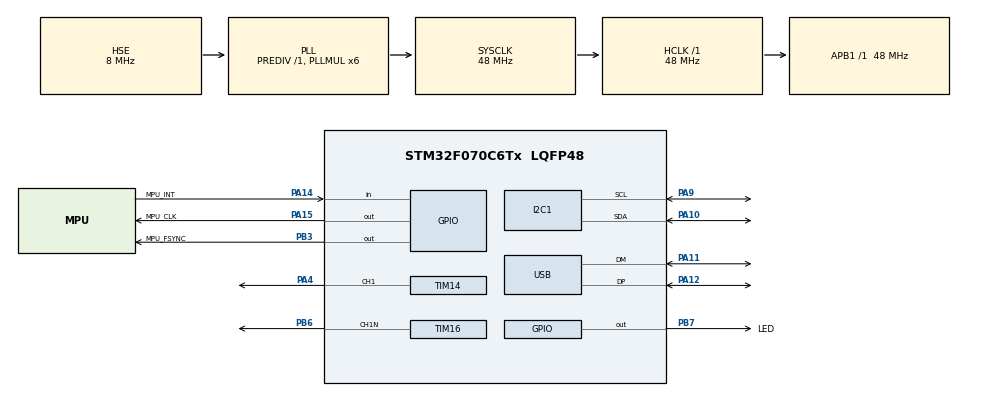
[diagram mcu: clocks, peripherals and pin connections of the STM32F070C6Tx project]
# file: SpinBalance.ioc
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Mcu.Family=STM32F0
Mcu.Name=STM32F070C6Tx
Mcu.Package=LQFP48
NVIC.USB_IRQn=true\:0\:0\:false\:false\:true\:false\:true
PA10.Mode=I2C
PA10.Signal=I2C1_SDA
PA11.Mode=Device
PA11.Signal=USB_DM
PA12.Mode=Device
PA12.Signal=USB_DP
PA14.GPIO_Label=MPU_INT
PA14.Signal=GPIO_Input
PA15.GPIO_Label=MPU_CLK
PA15.Signal=GPIO_Output
PA4.Signal=S_TIM14_CH1
PA9.Mode=I2C
PA9.Signal=I2C1_SCL
PB3.GPIO_Label=MPU_FSYNC
PB3.Signal=GPIO_Output
PB6.GPIO_ModeDefaultPP=GPIO_MODE_AF_PP
PB6.GPIO_PuPd=GPIO_NOPULL
PB6.Mode=PWM Generation1 CH1N
PB6.Signal=TIM16_CH1N
PB7.GPIO_Label=LED
PB7.PinState=GPIO_PIN_RESET
PB7.Signal=GPIO_Output
PF0-OSC_IN.Mode=HSE-External-Oscillator
PF0-OSC_IN.Signal=RCC_OSC_IN
PF1-OSC_OUT.Mode=HSE-External-Oscillator
PF1-OSC_OUT.Signal=RCC_OSC_OUT
ProjectManager.HeapSize=0x200
ProjectManager.StackSize=0x300
ProjectManager.TargetToolchain=SW4STM32
RCC.AHBFreq_Value=48000000
RCC.APB1Freq_Value=48000000
RCC.APB1TimFreq_Value=48000000
RCC.HCLKFreq_Value=48000000
RCC.PLLMUL=RCC_PLL_MUL6
RCC.SYSCLKFreq_VALUE=48000000
RCC.SYSCLKSource=RCC_SYSCLKSOURCE_PLLCLK
SH.S_TIM14_CH1.0=TIM14_CH1,PWM Generation1 CH1
TIM14.Channel=TIM_CHANNEL_1
TIM14.Period=100
TIM14.Prescaler=48
TIM16.AutoReloadPreload=TIM_AUTORELOAD_PRELOAD_DISABLE
TIM16.AutomaticOutput=TIM_AUTOMATICOUTPUT_DISABLE
TIM16.Channel=TIM_CHANNEL_1
TIM16.Period=100
TIM16.Prescaler=48
TIM16.Pulse=100
USB_DEVICE.CLASS_NAME_FS=CDC
USB_DEVICE.VirtualMode=Cdc
USB_DEVICE.VirtualModeFS=Cdc_FS
VP_TIM14_VS_ClockSourceINT.Mode=Enable_Timer
VP_TIM16_VS_ClockSourceINT.Mode=Enable_Timer
VP_USB_DEVICE_VS_USB_DEVICE_CDC_FS.Mode=CDC_FS
board=custom

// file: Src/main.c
/* USER CODE BEGIN Header */
/**
  ******************************************************************************
  * @file           : main.c
  * @brief          : Main program body
  ******************************************************************************
  * @attention
  *
  * <h2><center>&copy; Copyright (c) 2019 STMicroelectronics.
  * All rights reserved.</center></h2>
  *
  * This software component is licensed by ST under BSD 3-Clause license,
  * the "License"; You may not use this file except in compliance with the
  * License. You may obtain a copy of the License at:
  *                        opensource.org/licenses/BSD-3-Clause
  *
  ******************************************************************************
  */
/* USER CODE END Header */

#include "main.h"
#include "usb_device.h"

/* USER CODE BEGIN Includes */
#include "usbd_cdc_if.h"
#include "math.h"
/* USER CODE END Includes */

/* USER CODE BEGIN PD */
#define MPU_ADDR 0xD0
#define TARGET_PERIOD 5
#define PI 3.14159265
/* USER CODE END PD */

I2C_HandleTypeDef hi2c1;

TIM_HandleTypeDef htim14;
TIM_HandleTypeDef htim16;

/* USER CODE BEGIN PV */
int16_t old_angle = 0;
int16_t pos_dead_band = 0;
int16_t neg_dead_band = -0;
float i_error = 0;
int dead = 0;
int16_t current_speed = 0;

// Configurable parameters
float ki = 2;
float kp = 15;
float kd = 1;
int do_usb = 0; // Set to 1 to do USB transactions
int include_delay = 0; // Set to 1 to include a wait in the loop to achieve target loop time
/* USER CODE END PV */

void SystemClock_Config(void);
static void MX_GPIO_Init(void);
static void MX_I2C1_Init(void);
static void MX_TIM16_Init(void);
static void MX_TIM14_Init(void);
/* USER CODE BEGIN PFP */
HAL_StatusTypeDef MPU_GetReg(uint8_t, uint8_t*, uint8_t);
HAL_StatusTypeDef MPU_SetReg(uint8_t, uint8_t);
uint8_t MPU_Exists();
void SET_PWM_SPEED(int32_t);
int8_t sign(int16_t x);
int16_t balance(float, float, uint32_t);

/* USER CODE END PFP */

int main(void)
{

  /* MCU Configuration--------------------------------------------------------*/

  /* Reset of all peripherals, Initializes the Flash interface and the Systick. */
  HAL_Init();

  /* Configure the system clock */
  SystemClock_Config();

  /* Initialize all configured peripherals */
  MX_GPIO_Init();
  MX_I2C1_Init();
  MX_USB_DEVICE_Init();
  MX_TIM16_Init();
  MX_TIM14_Init();

  /* Infinite loop */
  /* USER CODE BEGIN WHILE */

  HAL_GPIO_TogglePin(LED_GPIO_Port, LED_Pin);
  HAL_Delay(100);
  HAL_GPIO_TogglePin(LED_GPIO_Port, LED_Pin);
  HAL_Delay(100);
  HAL_GPIO_TogglePin(LED_GPIO_Port, LED_Pin);
  HAL_Delay(100);
  HAL_GPIO_TogglePin(LED_GPIO_Port, LED_Pin);
  HAL_Delay(700);

  while(!MPU_Exists())
  {
	  if(do_usb) CDC_Transmit_FS((uint8_t*)"MPU did not response\n\r", 22);
  }

  if(do_usb) CDC_Transmit_FS((uint8_t*)"MPU is alive\n\r", 14);

  MPU_SetReg(0x6b, 0x00); //Set power mode
  MPU_SetReg(0x1c, 0x10); // Set accelerometers to +/-4g
  MPU_SetReg(0x1b, 0x10); //Set gyros to +/-500deg/sec

  HAL_TIM_PWM_Start(&htim16, TIM_CHANNEL_ALL);
  HAL_TIMEx_PWMN_Start(&htim16, TIM_CHANNEL_1);
  HAL_TIM_PWM_Start(&htim14, TIM_CHANNEL_ALL);
  HAL_TIMEx_PWMN_Start(&htim14, TIM_CHANNEL_1);

  uint16_t delay_time = TARGET_PERIOD;
  uint8_t acc_regs[6];
  float acc_vals[3];
  uint8_t gyro_regs[6];
  float gyro_vals[3];
  char usb_buf[150];
  uint8_t usb_buf_len;
  uint8_t usb_error_flag = 0;
  float angle = 0;
  uint32_t t = HAL_GetTick();

  while (1)
  {
	  // Read Acceleration values
	  MPU_GetReg(0x3b, acc_regs, 6);
	  acc_vals[0] = ((int16_t)(acc_regs[0] << 8) + acc_regs[1])/8192.0; //Convert force to grams
	  acc_vals[1] = ((int16_t)(acc_regs[2] << 8) + acc_regs[3])/8192.0; //Convert force to grams
	  acc_vals[2] = ((int16_t)(acc_regs[4] << 8) + acc_regs[5])/8192.0; //Convert force to grams

	  // Check for accelerator saturation
	  if((acc_vals[0] > 3.9) | (acc_vals[1] > 3.9) | (acc_vals[2] > 3.9) | (acc_vals[0] < -3.9) | (acc_vals[1] < -3.9) | (acc_vals[2] < -3.9))
	  {
		  HAL_GPIO_WritePin(LED_GPIO_Port, LED_Pin, GPIO_PIN_SET);
	  }

	  // Read Gyro values and convert to
	  MPU_GetReg(0x43, gyro_regs, 6);
	  gyro_vals[0] = ((int16_t)(gyro_regs[0] << 8) + gyro_regs[1])/65.5 + 0.1620; //Convert to degs/s
	  gyro_vals[1] = ((int16_t)(gyro_regs[2] << 8) + gyro_regs[3])/65.5; //Convert to degs/s
	  gyro_vals[2] = ((int16_t)(gyro_regs[4] << 8) + gyro_regs[5])/65.5 - 1.1653; //Convert to degs/s

	  // Check for gyro saturation
	  if((gyro_vals[0] > 450) | (gyro_vals[1] > 450) | (gyro_vals[2] > 450) | (gyro_vals[0] < -450) | (gyro_vals[1] < -450) | (gyro_vals[2] < -450))
	  {
		  HAL_GPIO_WritePin(LED_GPIO_Port, LED_Pin, GPIO_PIN_SET);
	  }

	  // Calculate the accelerometer angle
	  float accAngle = (atan2(acc_vals[0],acc_vals[1]) * 180 / PI);

	  // Get time delta
	  uint32_t t_now = HAL_GetTick();
	  uint32_t t_delta = t_now - t;
	  delay_time += (TARGET_PERIOD - t_delta);
	  t = t_now;

	  // Combine accelerometer and gyro angles
	  angle = 0.98*(angle + gyro_vals[2]*t_delta/1000) + 0.02*accAngle;

	  // Send USB
	  if(do_usb)
	  {
		  usb_buf_len = 0;
		  usb_buf_len = sprintf(usb_buf, "Dt: %lu\tAccx: %d\tAccy: %d\tAccz: %d\tAccAngle: %d\n\r", t_delta, (int16_t)(acc_vals[0]*1000),(int16_t)(acc_vals[1]*1000),(int16_t)(acc_vals[2]*1000),(int16_t)(accAngle));
		  HAL_StatusTypeDef usb_result = CDC_Transmit_FS((uint8_t*)usb_buf, usb_buf_len);
		  usb_error_flag = (usb_result == HAL_OK ? 0 : 1);
	  }

	  int16_t speed = balance(angle+1, gyro_vals[2], t_delta);

	  if(include_delay)
	  {
		  if(delay_time > 0) HAL_Delay(delay_time);
	  }

	  /* USER CODE END WHILE */

  }
}

void SystemClock_Config(void)
{
  RCC_OscInitTypeDef RCC_OscInitStruct = {0};
  RCC_ClkInitTypeDef RCC_ClkInitStruct = {0};
  RCC_PeriphCLKInitTypeDef PeriphClkInit = {0};

  /** Initializes the CPU, AHB and APB busses clocks
  */
  RCC_OscInitStruct.OscillatorType = RCC_OSCILLATORTYPE_HSI|RCC_OSCILLATORTYPE_HSE;
  RCC_OscInitStruct.HSEState = RCC_HSE_ON;
  RCC_OscInitStruct.HSIState = RCC_HSI_ON;
  RCC_OscInitStruct.HSICalibrationValue = RCC_HSICALIBRATION_DEFAULT;
  RCC_OscInitStruct.PLL.PLLState = RCC_PLL_ON;
  RCC_OscInitStruct.PLL.PLLSource = RCC_PLLSOURCE_HSE;
  RCC_OscInitStruct.PLL.PLLMUL = RCC_PLL_MUL6;
  RCC_OscInitStruct.PLL.PREDIV = RCC_PREDIV_DIV1;
  if (HAL_RCC_OscConfig(&RCC_OscInitStruct) != HAL_OK)
  {
    Error_Handler();
  }
  /** Initializes the CPU, AHB and APB busses clocks
  */
  RCC_ClkInitStruct.ClockType = RCC_CLOCKTYPE_HCLK|RCC_CLOCKTYPE_SYSCLK
                              |RCC_CLOCKTYPE_PCLK1;
  RCC_ClkInitStruct.SYSCLKSource = RCC_SYSCLKSOURCE_PLLCLK;
  RCC_ClkInitStruct.AHBCLKDivider = RCC_SYSCLK_DIV1;
  RCC_ClkInitStruct.APB1CLKDivider = RCC_HCLK_DIV1;

  if (HAL_RCC_ClockConfig(&RCC_ClkInitStruct, FLASH_LATENCY_1) != HAL_OK)
  {
    Error_Handler();
  }
  PeriphClkInit.PeriphClockSelection = RCC_PERIPHCLK_USB|RCC_PERIPHCLK_I2C1;
  PeriphClkInit.I2c1ClockSelection = RCC_I2C1CLKSOURCE_HSI;
  PeriphClkInit.UsbClockSelection = RCC_USBCLKSOURCE_PLL;

  if (HAL_RCCEx_PeriphCLKConfig(&PeriphClkInit) != HAL_OK)
  {
    Error_Handler();
  }
}

static void MX_I2C1_Init(void)
{

  hi2c1.Instance = I2C1;
  hi2c1.Init.Timing = 0x2000090E;
  hi2c1.Init.Timing = 0x0000020B;
  hi2c1.Init.OwnAddress1 = 0;
  hi2c1.Init.AddressingMode = I2C_ADDRESSINGMODE_7BIT;
  hi2c1.Init.DualAddressMode = I2C_DUALADDRESS_DISABLE;
  hi2c1.Init.OwnAddress2 = 0;
  hi2c1.Init.OwnAddress2Masks = I2C_OA2_NOMASK;
  hi2c1.Init.GeneralCallMode = I2C_GENERALCALL_DISABLE;
  hi2c1.Init.NoStretchMode = I2C_NOSTRETCH_DISABLE;
  if (HAL_I2C_Init(&hi2c1) != HAL_OK)
  {
    Error_Handler();
  }
  /** Configure Analogue filter
  */
  if (HAL_I2CEx_ConfigAnalogFilter(&hi2c1, I2C_ANALOGFILTER_ENABLE) != HAL_OK)
  {
    Error_Handler();
  }
  /** Configure Digital filter
  */
  if (HAL_I2CEx_ConfigDigitalFilter(&hi2c1, 0) != HAL_OK)
  {
    Error_Handler();
  }

}

static void MX_TIM14_Init(void)
{

  TIM_OC_InitTypeDef sConfigOC = {0};

  htim14.Instance = TIM14;
  htim14.Init.Prescaler = 1;
  htim14.Init.CounterMode = TIM_COUNTERMODE_UP;
  htim14.Init.Period = 100;
  htim14.Init.ClockDivision = TIM_CLOCKDIVISION_DIV1;
  htim14.Init.RepetitionCounter = 0;
  htim14.Init.AutoReloadPreload = TIM_AUTORELOAD_PRELOAD_DISABLE;
  if (HAL_TIM_Base_Init(&htim14) != HAL_OK)
  {
    Error_Handler();
  }
  if (HAL_TIM_PWM_Init(&htim14) != HAL_OK)
  {
    Error_Handler();
  }
  sConfigOC.OCMode = TIM_OCMODE_PWM1;
  sConfigOC.Pulse = 0;
  sConfigOC.OCPolarity = TIM_OCPOLARITY_HIGH;
  sConfigOC.OCFastMode = TIM_OCFAST_DISABLE;
  if (HAL_TIM_PWM_ConfigChannel(&htim14, &sConfigOC, TIM_CHANNEL_1) != HAL_OK)
  {
    Error_Handler();
  }
  HAL_TIM_MspPostInit(&htim14);

}

static void MX_TIM16_Init(void)
{

  TIM_OC_InitTypeDef sConfigOC = {0};
  TIM_BreakDeadTimeConfigTypeDef sBreakDeadTimeConfig = {0};

  htim16.Instance = TIM16;
  htim16.Init.Prescaler = 1;
  htim16.Init.CounterMode = TIM_COUNTERMODE_UP;
  htim16.Init.Period = 100;
  htim16.Init.ClockDivision = TIM_CLOCKDIVISION_DIV1;
  htim16.Init.RepetitionCounter = 0;
  htim16.Init.AutoReloadPreload = TIM_AUTORELOAD_PRELOAD_DISABLE;
  if (HAL_TIM_Base_Init(&htim16) != HAL_OK)
  {
    Error_Handler();
  }
  if (HAL_TIM_PWM_Init(&htim16) != HAL_OK)
  {
    Error_Handler();
  }
  sConfigOC.OCMode = TIM_OCMODE_PWM1;
  sConfigOC.Pulse = 0;
  sConfigOC.OCPolarity = TIM_OCPOLARITY_HIGH;
  sConfigOC.OCNPolarity = TIM_OCNPOLARITY_HIGH;
  sConfigOC.OCFastMode = TIM_OCFAST_DISABLE;
  sConfigOC.OCIdleState = TIM_OCIDLESTATE_RESET;
  sConfigOC.OCNIdleState = TIM_OCNIDLESTATE_RESET;
  if (HAL_TIM_PWM_ConfigChannel(&htim16, &sConfigOC, TIM_CHANNEL_1) != HAL_OK)
  {
    Error_Handler();
  }
  sBreakDeadTimeConfig.OffStateRunMode = TIM_OSSR_DISABLE;
  sBreakDeadTimeConfig.OffStateIDLEMode = TIM_OSSI_DISABLE;
  sBreakDeadTimeConfig.LockLevel = TIM_LOCKLEVEL_OFF;
  sBreakDeadTimeConfig.DeadTime = 0;
  sBreakDeadTimeConfig.BreakState = TIM_BREAK_DISABLE;
  sBreakDeadTimeConfig.BreakPolarity = TIM_BREAKPOLARITY_HIGH;
  sBreakDeadTimeConfig.AutomaticOutput = TIM_AUTOMATICOUTPUT_DISABLE;
  if (HAL_TIMEx_ConfigBreakDeadTime(&htim16, &sBreakDeadTimeConfig) != HAL_OK)
  {
    Error_Handler();
  }
  HAL_TIM_MspPostInit(&htim16);

}

static void MX_GPIO_Init(void)
{
  GPIO_InitTypeDef GPIO_InitStruct = {0};

  /* GPIO Ports Clock Enable */
  __HAL_RCC_GPIOF_CLK_ENABLE();
  __HAL_RCC_GPIOA_CLK_ENABLE();
  __HAL_RCC_GPIOB_CLK_ENABLE();

  /*Configure GPIO pin Output Level */
  HAL_GPIO_WritePin(MPU_CLK_GPIO_Port, MPU_CLK_Pin, GPIO_PIN_RESET);

  /*Configure GPIO pin Output Level */
  HAL_GPIO_WritePin(GPIOB, MPU_FSYNC_Pin|LED_Pin, GPIO_PIN_RESET);

  /*Configure GPIO pin : MPU_INT_Pin */
  GPIO_InitStruct.Pin = MPU_INT_Pin;
  GPIO_InitStruct.Mode = GPIO_MODE_INPUT;
  GPIO_InitStruct.Pull = GPIO_NOPULL;
  HAL_GPIO_Init(MPU_INT_GPIO_Port, &GPIO_InitStruct);

  /*Configure GPIO pin : MPU_CLK_Pin */
  GPIO_InitStruct.Pin = MPU_CLK_Pin;
  GPIO_InitStruct.Mode = GPIO_MODE_OUTPUT_PP;
  GPIO_InitStruct.Pull = GPIO_NOPULL;
  GPIO_InitStruct.Speed = GPIO_SPEED_FREQ_LOW;
  HAL_GPIO_Init(MPU_CLK_GPIO_Port, &GPIO_InitStruct);

  /*Configure GPIO pins : MPU_FSYNC_Pin LED_Pin */
  GPIO_InitStruct.Pin = MPU_FSYNC_Pin|LED_Pin;
  GPIO_InitStruct.Mode = GPIO_MODE_OUTPUT_PP;
  GPIO_InitStruct.Pull = GPIO_NOPULL;
  GPIO_InitStruct.Speed = GPIO_SPEED_FREQ_LOW;
  HAL_GPIO_Init(GPIOB, &GPIO_InitStruct);

}

/* USER CODE BEGIN 4 */

int8_t sign(int16_t x)
{
    return (x > 0) - (x < 0);
}

void SET_PWM_SPEED(int32_t value)
{
    int16_t m2 = (value > 0 ? value : 0);
    int16_t m1 = (value < 0 ? -1*value : 0);

    __HAL_TIM_SET_COMPARE(&htim16, TIM_CHANNEL_1, m1);
    __HAL_TIM_SET_COMPARE(&htim14, TIM_CHANNEL_1, m2);
    HAL_TIMEx_PWMN_Start(&htim16, TIM_CHANNEL_1);
    HAL_TIM_PWM_Start(&htim14, TIM_CHANNEL_1);
}

int16_t balance(float angle, float delta_angle, uint32_t t_delta)
{
	if(abs(angle) > 30 || dead > 0){
		SET_PWM_SPEED(0);
		i_error = 0;
		dead = 1;
		return 0;
	}

	old_angle = angle;
	i_error += angle * t_delta / 1000;
	int16_t desired_speed = (int16_t)(i_error*ki + angle*kp + delta_angle*kd);
	desired_speed += (desired_speed > 0 ? pos_dead_band : (desired_speed < 0 ? neg_dead_band : 0));

	current_speed = desired_speed;

	SET_PWM_SPEED(current_speed);

	return desired_speed;
}

uint8_t MPU_Exists()
{
  uint8_t response;
  HAL_StatusTypeDef status = MPU_GetReg(0x75, &response, 1);
  if(status == HAL_OK && response == 0x68)
  {
	  return 1;
  }
  else
  {
	  return 0;
  }
}

HAL_StatusTypeDef MPU_GetReg(uint8_t reg, uint8_t* response, uint8_t len)
{
	return HAL_I2C_Mem_Read(&hi2c1, MPU_ADDR, (uint16_t) reg, I2C_MEMADD_SIZE_8BIT, response, len, 100);
}

HAL_StatusTypeDef MPU_SetReg(uint8_t reg, uint8_t value)
{
	return HAL_I2C_Mem_Write(&hi2c1, MPU_ADDR, (uint16_t) reg, I2C_MEMADD_SIZE_8BIT, &value, 1, 100);
}

/* USER CODE END 4 */

void Error_Handler(void)
{
}

/************************ (C) COPYRIGHT STMicroelectronics *****END OF FILE****/
